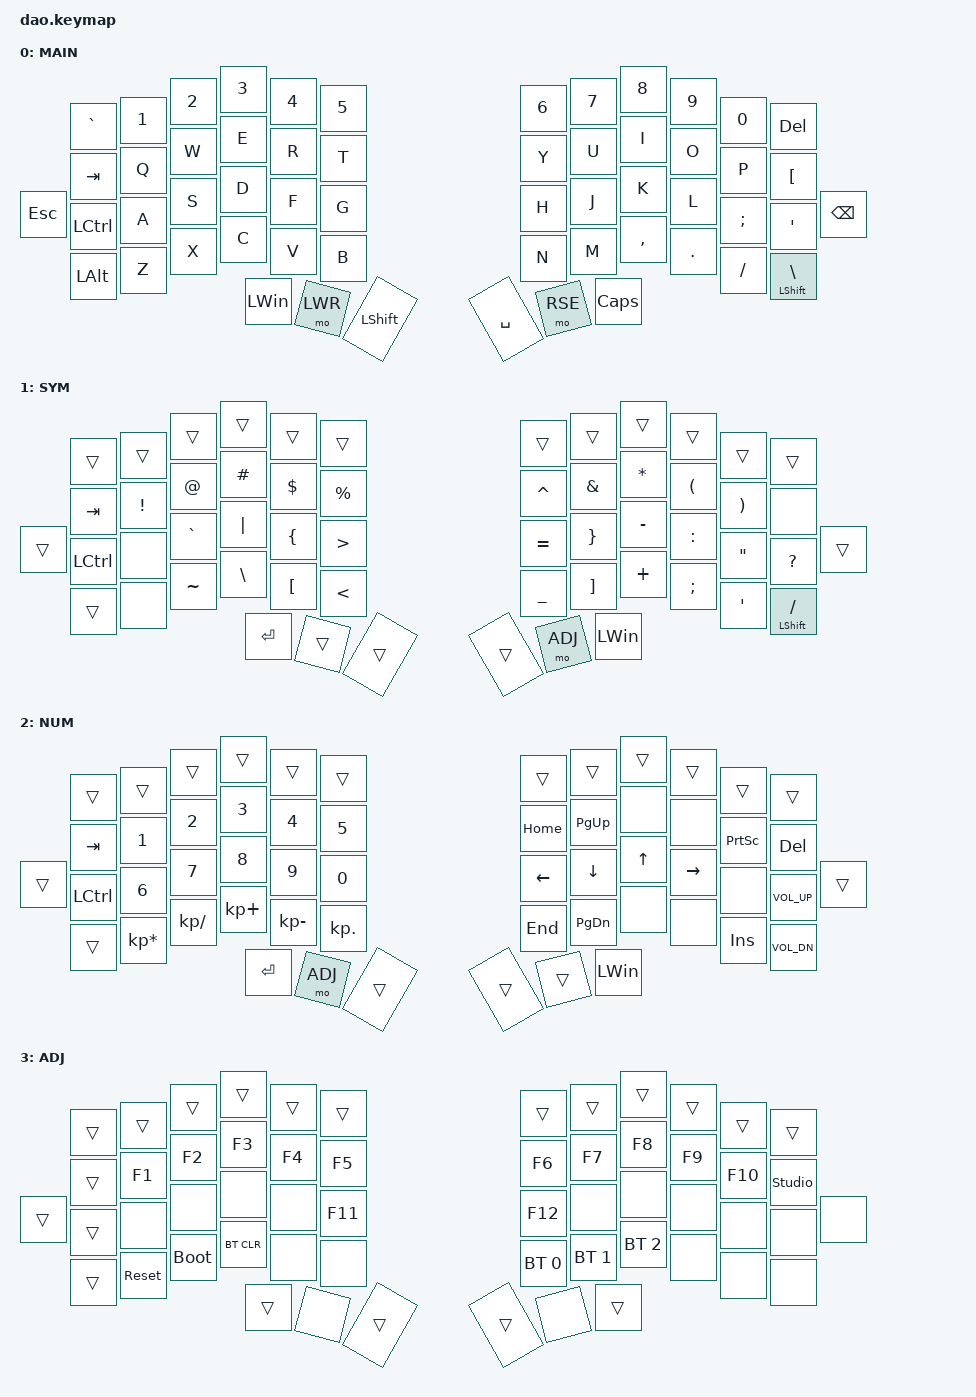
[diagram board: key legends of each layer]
/*
 * Copyright (c) 2021 Rafael Yumagulov
 *
 * SPDX-License-Identifier: MIT
 */

#include <behaviors.dtsi>
#include <dt-bindings/zmk/keys.h>
#include <dt-bindings/zmk/bt.h>
#include "dao56.dtsi"

#define DEF 0
#define LWR 1
#define RSE 2
#define ADJ 3

&lt { quick-tap-ms = <150>; };
&mt { quick-tap-ms = <100>; };

/ {
    chosen {
        zmk,physical-layout = &dao_full_layout;
    };
};

/ {
        keymap {
                compatible = "zmk,keymap";

//            ╭──────────┬──────────┬──────────┬──────────┬──────────┬──────────╮           ╭──────────┬──────────┬──────────┬──────────┬──────────┬──────────╮
// ╭──────────├──────────┼──────────┼──────────┼──────────┼──────────┼──────────┤           ├──────────┼──────────┼──────────┼──────────┼──────────┼──────────┤──────────╮
// ╰──────────┼──────────┼──────────┼──────────┼──────────┼──────────┼──────────┤           ├──────────┼──────────┼──────────┼──────────┼──────────┼──────────┼──────────╯
//            ├──────────┼──────────┼──────────┼──────────┼──────────┼──────────┤           ├──────────┼──────────┼──────────┼──────────┼──────────┼──────────┤
//            ╰──────────┴──────────┴──────────┼──────────┼──────────┼──────────┤           ├──────────┼──────────┼──────────┼──────────┴──────────┴──────────╯
//                                             ╰──────────┴──────────┴──────────╯           ╰──────────┴──────────┴──────────╯

                default_layer {
                        display-name = "MAIN";
                        bindings = <
//            ╭──────────┬──────────┬──────────┬──────────┬──────────┬──────────╮           ╭──────────┬──────────┬──────────┬──────────┬──────────┬──────────╮
               &kp GRAVE  &kp N1     &kp N2     &kp N3     &kp N4     &kp N5                 &kp N6     &kp N7     &kp N8     &kp N9     &kp N0     &kp DEL
// ╭──────────├──────────┼──────────┼──────────┼──────────┼──────────┼──────────┤           ├──────────┼──────────┼──────────┼──────────┼──────────┼──────────┤──────────╮
    &kp ESC    &kp TAB    &kp Q      &kp W      &kp E      &kp R      &kp T                  &kp Y      &kp U      &kp I      &kp O      &kp P      &kp LBKT   &kp BSPC
// ╰──────────┼──────────┼──────────┼──────────┼──────────┼──────────┼──────────┤           ├──────────┼──────────┼──────────┼──────────┼──────────┼──────────┼──────────╯
               &kp LCTRL  &kp A      &kp S      &kp D      &kp F      &kp G                  &kp H      &kp J      &kp K      &kp L      &kp SEMI   &kp SQT
//            ├──────────┼──────────┼──────────┼──────────┼──────────┼──────────┤           ├──────────┼──────────┼──────────┼──────────┼──────────┼──────────┤
               &kp LALT   &kp Z      &kp X      &kp C      &kp V      &kp B                  &kp N      &kp M      &kp COMMA  &kp DOT    &kp FSLH   &mt LSHFT BSLH
//            ╰──────────┴──────────┴──────────┼──────────┼──────────┼──────────┤           ├──────────┼──────────┼──────────┼──────────┴──────────┴──────────╯
                                                &kp LWIN   &mo LWR    &kp LSHFT              &kp SPACE  &mo RSE    &kp CAPS
//                                             ╰──────────┴──────────┴──────────╯           ╰──────────┴──────────┴──────────╯
                        >;
                };
                lower_layer {
                        display-name = "SYM";
                        bindings = <
//            ╭──────────┬──────────┬──────────┬──────────┬──────────┬──────────╮           ╭──────────┬──────────┬──────────┬──────────┬──────────┬──────────╮
               &trans     &trans     &trans     &trans     &trans     &trans                 &trans     &trans     &trans     &trans     &trans     &trans
// ╭──────────├──────────┼──────────┼──────────┼──────────┼──────────┼──────────┤           ├──────────┼──────────┼──────────┼──────────┼──────────┼──────────┤──────────╮
    &trans     &kp TAB    &kp EXCL   &kp AT     &kp HASH   &kp DLLR   &kp PRCNT              &kp CARET  &kp AMPS   &kp STAR   &kp LPAR   &kp RPAR   &none      &trans
// ╰──────────┼──────────┼──────────┼──────────┼──────────┼──────────┼──────────┤           ├──────────┼──────────┼──────────┼──────────┼──────────┼──────────┼──────────╯
               &kp LCTRL  &none      &kp GRAVE  &kp PIPE   &kp LBRC   &kp GT                 &kp EQUAL  &kp RBRC   &kp MINUS  &kp COLON  &kp DQT    &kp QMARK
//            ├──────────┼──────────┼──────────┼──────────┼──────────┼──────────┤           ├──────────┼──────────┼──────────┼──────────┼──────────┼──────────┤
               &trans     &none      &kp TILDE  &kp BSLH   &kp LBKT   &kp LT                 &kp UNDER  &kp RBKT   &kp PLUS   &kp SEMI   &kp APOS   &mt LSHFT SLASH
//            ╰──────────┴──────────┴──────────┼──────────┼──────────┼──────────┤           ├──────────┼──────────┼──────────┼──────────┴──────────┴──────────╯
                                                &kp RET    &trans     &trans                 &trans     &mo ADJ    &kp LWIN
//                                             ╰──────────┴──────────┴──────────╯           ╰──────────┴──────────┴──────────╯
                        >;
                };

                raise_layer {
                        display-name = "NUM";
                        bindings = <
//            ╭──────────┬──────────┬──────────┬──────────┬──────────┬──────────╮           ╭──────────┬──────────┬──────────┬──────────┬──────────┬──────────╮
               &trans     &trans     &trans     &trans     &trans     &trans                 &trans     &trans     &trans     &trans     &trans     &trans
// ╭──────────├──────────┼──────────┼──────────┼──────────┼──────────┼──────────┤           ├──────────┼──────────┼──────────┼──────────┼──────────┼──────────┤──────────╮
    &trans     &kp TAB    &kp N1     &kp N2     &kp N3     &kp N4     &kp N5                 &kp HOME   &kp PG_UP  &none      &none      &kp PSCRN  &kp DEL    &trans
// ╰──────────┼──────────┼──────────┼──────────┼──────────┼──────────┼──────────┤           ├──────────┼──────────┼──────────┼──────────┼──────────┼──────────┼──────────╯
               &kp LCTRL  &kp N6     &kp N7     &kp N8     &kp N9     &kp N0                 &kp LEFT   &kp DOWN   &kp UP     &kp RIGHT  &none      &kp C_VOL_UP
//            ├──────────┼──────────┼──────────┼──────────┼──────────┼──────────┤           ├──────────┼──────────┼──────────┼──────────┼──────────┼──────────┤
               &trans &kp KP_MULTIPLY &kp KP_DIVIDE &kp KP_PLUS &kp KP_MINUS &kp KP_DOT      &kp END    &kp PG_DN  &none      &none      &kp INS    &kp C_VOL_DN
//            ╰──────────┴──────────┴──────────┼──────────┼──────────┼──────────┤           ├──────────┼──────────┼──────────┼──────────┴──────────┴──────────╯
                                                &kp RET    &mo ADJ    &trans                 &trans     &trans     &kp LWIN
//                                             ╰──────────┴──────────┴──────────╯           ╰──────────┴──────────┴──────────╯
                        >;
                };
                adjust_layer {
                        display-name = "ADJ";
                        bindings = <
//            ╭──────────┬──────────┬──────────┬──────────┬──────────┬──────────╮           ╭──────────┬──────────┬──────────┬──────────┬──────────┬──────────╮
               &trans     &trans     &trans     &trans     &trans     &trans                 &trans     &trans     &trans     &trans     &trans     &trans
// ╭──────────├──────────┼──────────┼──────────┼──────────┼──────────┼──────────┤           ├──────────┼──────────┼──────────┼──────────┼──────────┼──────────┤──────────╮
    &trans     &trans     &kp F1     &kp F2     &kp F3     &kp F4     &kp F5                 &kp F6     &kp F7     &kp F8     &kp F9     &kp F10    &studio_unlock &none
// ╰──────────┼──────────┼──────────┼──────────┼──────────┼──────────┼──────────┤           ├──────────┼──────────┼──────────┼──────────┼──────────┼──────────┼──────────╯
               &trans     &none      &none      &none      &none      &kp F11                &kp F12    &none      &none      &none      &none      &none
//            ├──────────┼──────────┼──────────┼──────────┼──────────┼──────────┤           ├──────────┼──────────┼──────────┼──────────┼──────────┼──────────┤
               &trans     &sys_reset &bootloader &bt BT_CLR &none     &none                  &bt BT_SEL 0 &bt BT_SEL 1 &bt BT_SEL 2 &none &none     &none
//            ╰──────────┴──────────┴──────────┼──────────┼──────────┼──────────┤           ├──────────┼──────────┼──────────┼──────────┴──────────┴──────────╯
                                                &trans     &none      &trans                 &trans     &none      &trans
//                                             ╰──────────┴──────────┴──────────╯           ╰──────────┴──────────┴──────────╯
                        >;
                };
        };
};
